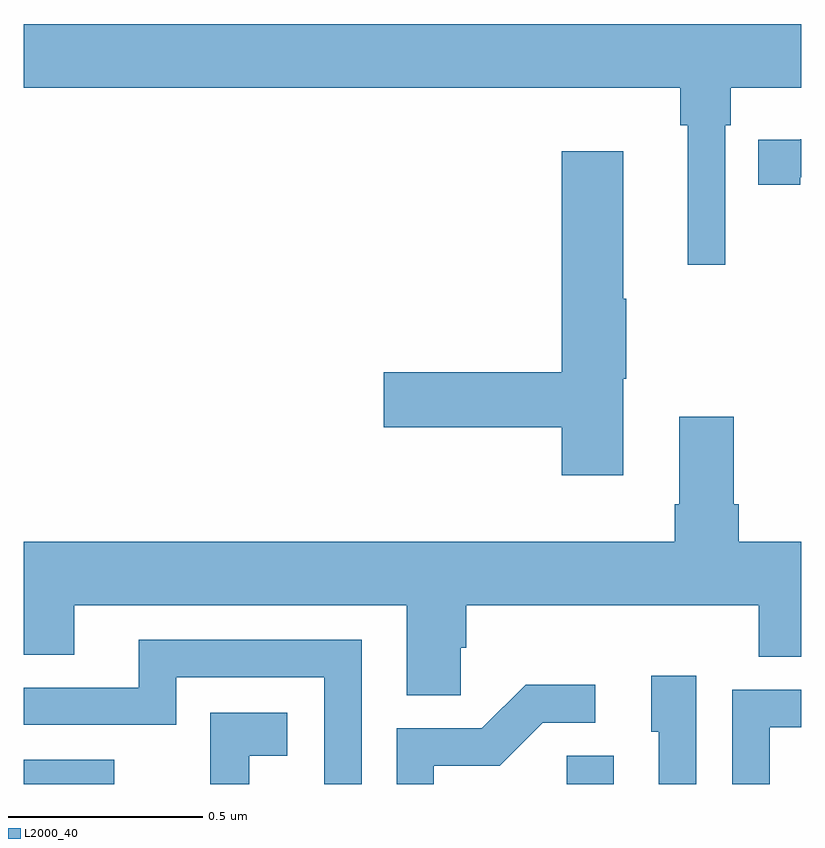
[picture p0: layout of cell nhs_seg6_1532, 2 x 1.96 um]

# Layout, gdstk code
import gdstk
lib = gdstk.Library(unit=1e-6, precision=1e-09)
def R(c, l, rs):  # rectangles x0, y0, x1, y1
    for r in rs: c.add(gdstk.rectangle(r[:2], r[2:], *l))
def P(c, l, *ps):  # polygons
    for p in ps: c.add(gdstk.Polygon(p, *l))
L2000_40 = (2000, 40)

nhs_seg6_1532 = lib.new_cell('nhs_seg6_1532')
R(nhs_seg6_1532, L2000_40, [(130,989.5,130.233,989.562), (131.397,989.5,131.518,989.573)])
P(nhs_seg6_1532, L2000_40, [(131.805,991.196),(131.819,991.196),(131.819,991.292),(132,991.292),(132,991.456),(130,991.456),(130,991.292),(131.689,991.292),(131.689,991.196),(131.708,991.196),(131.708,990.837),(131.805,990.837)],
  [(131.998,991.062),(132,991.062),(132,991.159),(131.998,991.159),(131.998,991.158),(131.89,991.158),(131.89,991.042),(131.998,991.042)],
  [(131.542,990.543),(131.55,990.543),(131.55,990.749),(131.542,990.749),(131.542,991.129),(131.384,991.129),(131.384,990.56),(130.926,990.56),(130.926,990.418),(131.384,990.418),(131.384,990.294),(131.542,990.294)],
  [(131.124,989.851),(131.138,989.851),(131.138,989.96),(131.891,989.96),(131.891,989.827),(132,989.827),(132,990.124),(131.84,990.124),(131.84,990.22),(131.827,990.22),(131.827,990.445),(131.687,990.445),(131.687,990.22),(131.675,990.22),(131.675,990.124),(130,990.124),(130,989.833),(130.129,989.833),(130.129,989.96),(130.985,989.96),(130.985,989.728),(131.124,989.728)],
  [(130.869,989.871),(130.295,989.871),(130.295,989.748),(130,989.748),(130,989.652),(130.392,989.652),(130.392,989.775),(130.773,989.775),(130.773,989.5),(130.869,989.5)],
  [(131.73,989.779),(131.615,989.779),(131.615,989.634),(131.634,989.634),(131.634,989.5),(131.73,989.5)],
  [(131.055,989.547),(131.224,989.547),(131.335,989.658),(131.47,989.658),(131.47,989.756),(131.291,989.756),(131.178,989.643),(130.959,989.643),(130.959,989.5),(131.055,989.5)],
  [(131.919,989.646),(132,989.646),(132,989.742),(131.823,989.742),(131.823,989.5),(131.919,989.5)],
  [(130.58,989.573),(130.678,989.573),(130.678,989.683),(130.48,989.683),(130.48,989.5),(130.58,989.5)])

lib.write_gds('nhs_seg6_1532.gds')
